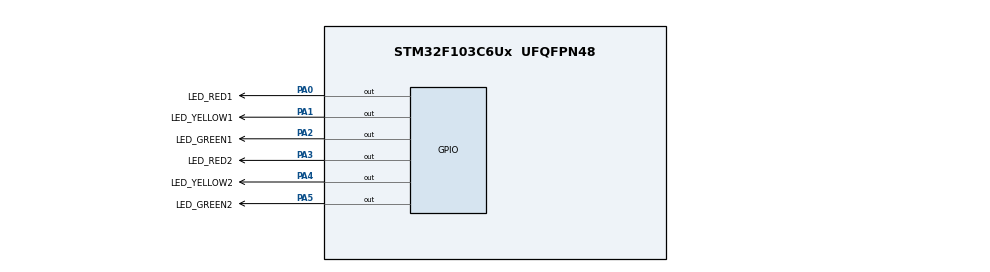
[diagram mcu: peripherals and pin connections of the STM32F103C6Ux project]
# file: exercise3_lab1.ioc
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Mcu.Family=STM32F1
Mcu.Name=STM32F103C6Ux
Mcu.Package=UFQFPN48
NVIC.PriorityGroup=NVIC_PRIORITYGROUP_4
PA0-WKUP.GPIO_Label=LED_RED1
PA0-WKUP.Signal=GPIO_Output
PA1.GPIO_Label=LED_YELLOW1
PA1.Signal=GPIO_Output
PA2.GPIO_Label=LED_GREEN1
PA2.Signal=GPIO_Output
PA3.GPIO_Label=LED_RED2
PA3.Signal=GPIO_Output
PA4.GPIO_Label=LED_YELLOW2
PA4.Signal=GPIO_Output
PA5.GPIO_Label=LED_GREEN2
PA5.Signal=GPIO_Output
ProjectManager.HeapSize=0x200
ProjectManager.StackSize=0x400
ProjectManager.TargetToolchain=STM32CubeIDE
RCC.APB1Freq_Value=8000000
RCC.APB2Freq_Value=8000000
VP_SYS_VS_ND.Mode=No_Debug
board=custom

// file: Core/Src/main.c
/* USER CODE BEGIN Header */
/**
  ******************************************************************************
  * @file           : main.c
  * @brief          : Main program body
  ******************************************************************************
  * @attention
  *
  * <h2><center>&copy; Copyright (c) 2023 STMicroelectronics.
  * All rights reserved.</center></h2>
  *
  * This software component is licensed by ST under BSD 3-Clause license,
  * the "License"; You may not use this file except in compliance with the
  * License. You may obtain a copy of the License at:
  *                        opensource.org/licenses/BSD-3-Clause
  *
  ******************************************************************************
  */
/* USER CODE END Header */
#include "main.h"

void SystemClock_Config(void);
static void MX_GPIO_Init(void);

int main(void)
{

  /* MCU Configuration--------------------------------------------------------*/

  /* Reset of all peripherals, Initializes the Flash interface and the Systick. */
  HAL_Init();

  /* Configure the system clock */
  SystemClock_Config();

  /* Initialize all configured peripherals */
  MX_GPIO_Init();

  /* Infinite loop */
  /* USER CODE BEGIN WHILE */
#define time_status1 3000
#define time_status2 2000
#define DELAY 10
  int count=0;
  int next_status=0;
  void RED1andGREEN2(){
	  HAL_GPIO_WritePin(GPIOA, LED_RED1_Pin, GPIO_PIN_RESET);
	  HAL_GPIO_WritePin(GPIOA, LED_YELLOW1_Pin, GPIO_PIN_SET);
	  HAL_GPIO_WritePin(GPIOA, LED_GREEN1_Pin, GPIO_PIN_SET);
	  HAL_GPIO_WritePin(GPIOA, LED_RED2_Pin, GPIO_PIN_SET);
	  HAL_GPIO_WritePin(GPIOA, LED_YELLOW2_Pin, GPIO_PIN_SET);
	  HAL_GPIO_WritePin(GPIOA, LED_GREEN2_Pin, GPIO_PIN_RESET);
  }
  void RED1andYELLOW2(){
	  HAL_GPIO_WritePin(GPIOA, LED_RED1_Pin, GPIO_PIN_RESET);
	  HAL_GPIO_WritePin(GPIOA, LED_YELLOW1_Pin, GPIO_PIN_SET);
	  HAL_GPIO_WritePin(GPIOA, LED_GREEN1_Pin, GPIO_PIN_SET);
	  HAL_GPIO_WritePin(GPIOA, LED_RED2_Pin, GPIO_PIN_SET);
	  HAL_GPIO_WritePin(GPIOA, LED_YELLOW2_Pin, GPIO_PIN_RESET);
	  HAL_GPIO_WritePin(GPIOA, LED_GREEN2_Pin, GPIO_PIN_SET);
  }
  void GREEN1andRED2(){
	  HAL_GPIO_WritePin(GPIOA, LED_RED1_Pin, GPIO_PIN_SET);
	  HAL_GPIO_WritePin(GPIOA, LED_YELLOW1_Pin, GPIO_PIN_SET);
	  HAL_GPIO_WritePin(GPIOA, LED_GREEN1_Pin, GPIO_PIN_RESET);
	  HAL_GPIO_WritePin(GPIOA, LED_RED2_Pin, GPIO_PIN_RESET);
	  HAL_GPIO_WritePin(GPIOA, LED_YELLOW2_Pin, GPIO_PIN_SET);
	  HAL_GPIO_WritePin(GPIOA, LED_GREEN2_Pin, GPIO_PIN_SET);
  }
  void YELLOW1andRED2(){
	  HAL_GPIO_WritePin(GPIOA, LED_RED1_Pin, GPIO_PIN_SET);
	  HAL_GPIO_WritePin(GPIOA, LED_YELLOW1_Pin, GPIO_PIN_RESET);
	  HAL_GPIO_WritePin(GPIOA, LED_GREEN1_Pin, GPIO_PIN_SET);
	  HAL_GPIO_WritePin(GPIOA, LED_RED2_Pin, GPIO_PIN_RESET);
	  HAL_GPIO_WritePin(GPIOA, LED_YELLOW2_Pin, GPIO_PIN_SET);
	  HAL_GPIO_WritePin(GPIOA, LED_GREEN2_Pin, GPIO_PIN_SET);
  }
  while (1)
  {
    /* USER CODE END WHILE */
	  if(count>0){
		  count--;
	  }
	  else{
		  switch(next_status){
		  	  case 0:
		  		  RED1andGREEN2();
		  		  next_status=1;
		  		  count=time_status1/DELAY;
		  		  break;
		  	  case 1:
		  	  	  RED1andYELLOW2();
		  		  next_status=2;
		  		  count=time_status2/DELAY;
		  		  break;
		  	  case 2:
		  		  GREEN1andRED2();
		  		  next_status=3;
		  		  count=time_status1/DELAY;
		  		  break;
		  	  case 3:
		  		  YELLOW1andRED2();
		  		  next_status=0;
		  		  count=time_status2/DELAY;
		  		  break;
		  }
	  }
	  HAL_Delay(10);
  }
}

void SystemClock_Config(void)
{
  RCC_OscInitTypeDef RCC_OscInitStruct = {0};
  RCC_ClkInitTypeDef RCC_ClkInitStruct = {0};

  /** Initializes the RCC Oscillators according to the specified parameters
  * in the RCC_OscInitTypeDef structure.
  */
  RCC_OscInitStruct.OscillatorType = RCC_OSCILLATORTYPE_HSI;
  RCC_OscInitStruct.HSIState = RCC_HSI_ON;
  RCC_OscInitStruct.HSICalibrationValue = RCC_HSICALIBRATION_DEFAULT;
  RCC_OscInitStruct.PLL.PLLState = RCC_PLL_NONE;
  if (HAL_RCC_OscConfig(&RCC_OscInitStruct) != HAL_OK)
  {
    Error_Handler();
  }
  /** Initializes the CPU, AHB and APB buses clocks
  */
  RCC_ClkInitStruct.ClockType = RCC_CLOCKTYPE_HCLK|RCC_CLOCKTYPE_SYSCLK
                              |RCC_CLOCKTYPE_PCLK1|RCC_CLOCKTYPE_PCLK2;
  RCC_ClkInitStruct.SYSCLKSource = RCC_SYSCLKSOURCE_HSI;
  RCC_ClkInitStruct.AHBCLKDivider = RCC_SYSCLK_DIV1;
  RCC_ClkInitStruct.APB1CLKDivider = RCC_HCLK_DIV1;
  RCC_ClkInitStruct.APB2CLKDivider = RCC_HCLK_DIV1;

  if (HAL_RCC_ClockConfig(&RCC_ClkInitStruct, FLASH_LATENCY_0) != HAL_OK)
  {
    Error_Handler();
  }
}

static void MX_GPIO_Init(void)
{
  GPIO_InitTypeDef GPIO_InitStruct = {0};

  /* GPIO Ports Clock Enable */
  __HAL_RCC_GPIOA_CLK_ENABLE();

  /*Configure GPIO pin Output Level */
  HAL_GPIO_WritePin(GPIOA, LED_RED1_Pin|LED_YELLOW1_Pin|LED_GREEN1_Pin|LED_RED2_Pin
                          |LED_YELLOW2_Pin|LED_GREEN2_Pin, GPIO_PIN_RESET);

  /*Configure GPIO pins : LED_RED1_Pin LED_YELLOW1_Pin LED_GREEN1_Pin LED_RED2_Pin
                           LED_YELLOW2_Pin LED_GREEN2_Pin */
  GPIO_InitStruct.Pin = LED_RED1_Pin|LED_YELLOW1_Pin|LED_GREEN1_Pin|LED_RED2_Pin
                          |LED_YELLOW2_Pin|LED_GREEN2_Pin;
  GPIO_InitStruct.Mode = GPIO_MODE_OUTPUT_PP;
  GPIO_InitStruct.Pull = GPIO_NOPULL;
  GPIO_InitStruct.Speed = GPIO_SPEED_FREQ_LOW;
  HAL_GPIO_Init(GPIOA, &GPIO_InitStruct);

}

void Error_Handler(void)
{
  __disable_irq();
  while (1)
  {
  }
}

/************************ (C) COPYRIGHT STMicroelectronics *****END OF FILE****/
